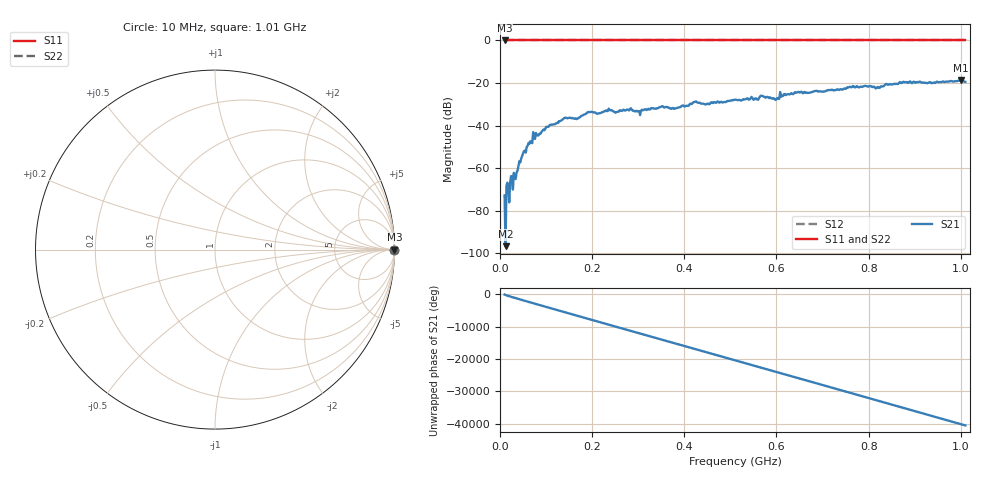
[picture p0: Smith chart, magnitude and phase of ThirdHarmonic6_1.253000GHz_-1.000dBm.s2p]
! 8/16/2025 1:24:59 PM
! C:\ANRITSUVNA\TEMP\TEMP.S2P
! CHANNEL.1
! TR.MEASUREMENT
! RAW.DATA
! RF.CORRECTION.OFF
! AVERAGING.OFF
! IF.BANDWIDTH: 5KHZ
! SWEEPTYPE:  FREQ.SWEEP(Linear)
! Reference Plane Port Info
! PORT:  PORT1  PORT2
! DISTANCE:  0  m  0  m
! TIME:  0  s  0  s
! PHASE.OFFSET:  0  deg.  0  deg.
! LOSS:  0  dB  0  dB
! REF.LOSS:  0  dB  0  dB
! REF.FREQ:  0  Hz  0  Hz
! Power Info
! POWER:  -20  dBm  -20  dBm
! EFF.POWER:  -20  dBm  -20  dBm
! SOURCE.ATTEN:  0  dB  0  dB
! TEST.ATTEN:  0  dB  0  dB
# GHZ S RI R 50.0
! FREQ.GHZ  S11RE  S11IM  S21RE  S21IM  S12RE  S12IM  S22RE  S22IM
!; PortSelection: Port_12
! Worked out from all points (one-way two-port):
!   501 points, 10 MHz to 1.01 GHz, reference 50 ohm
!   highest |S21| = -18.54 dB at 1 GHz (marker M1); lowest = -96.7 dB at 12 MHz (marker M2)
!   lowest |S11| = 0.0 dB at 10 MHz (marker M3)
!   |S11| at or under -10 dB: nowhere
!   |S22| runs from 0.0 to 0.0 dB; largest |S21 - S12| = 1.1
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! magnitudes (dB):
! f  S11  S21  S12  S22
! 10 MHz  0.0  -72.8  0.0  0.0
! 12 MHz  0.0  -96.7  0.0  0.0
! 16 MHz  0.0  -66.8  0.0  0.0
! 24 MHz  0.0  -63.8  0.0  0.0
! 26 MHz  0.0  -63.9  0.0  0.0
! 32 MHz  0.0  -64.9  0.0  0.0
! 50 MHz  0.0  -53.3  0.0  0.0
! 76 MHz  0.0  -46.3  0.0  0.0
! 140 MHz  0.0  -36.4  0.0  0.0
! 178 MHz  0.0  -35.3  0.0  0.0
! 194 MHz  0.0  -33.7  0.0  0.0
! 280 MHz  0.0  -32.9  0.0  0.0
! 302 MHz  0.0  -33.2  0.0  0.0
! 344 MHz  0.0  -31.7  0.0  0.0
! 510 MHz  0.0  -27.8  0.0  0.0
! 568 MHz  0.0  -26.0  0.0  0.0
! 602 MHz  0.0  -27.0  0.0  0.0
! 612 MHz  0.0  -26.1  0.0  0.0
! 678 MHz  0.0  -24.2  0.0  0.0
! 844 MHz  0.0  -20.7  0.0  0.0
! 1 GHz  0.0  -18.5  0.0  0.0
! 1.01 GHz  0.0  -19.5  0.0  0.0
